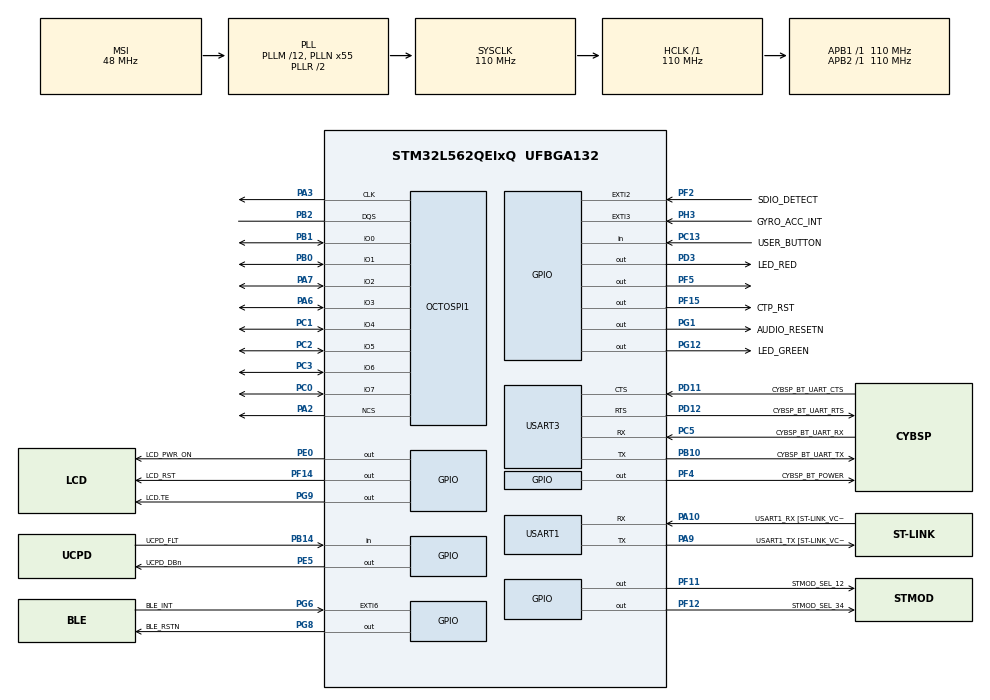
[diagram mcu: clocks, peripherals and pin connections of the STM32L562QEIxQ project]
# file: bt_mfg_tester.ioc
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Dma.Request0=USART3_RX
Dma.Request1=USART3_TX
Dma.USART3_RX.0.Channel_PRIV_NPRIV=DMA_CHANNEL_NPRIV_DISABLE
Dma.USART3_RX.0.Direction=DMA_PERIPH_TO_MEMORY
Dma.USART3_RX.0.EventEnable=DISABLE
Dma.USART3_RX.0.Instance=DMA1_Channel1
Dma.USART3_RX.0.MemDataAlignment=DMA_MDATAALIGN_BYTE
Dma.USART3_RX.0.MemInc=DMA_MINC_ENABLE
Dma.USART3_RX.0.Mode=DMA_NORMAL
Dma.USART3_RX.0.PeriphDataAlignment=DMA_PDATAALIGN_BYTE
Dma.USART3_RX.0.PeriphInc=DMA_PINC_DISABLE
Dma.USART3_RX.0.Polarity=HAL_DMAMUX_REQ_GEN_RISING
Dma.USART3_RX.0.Priority=DMA_PRIORITY_LOW
Dma.USART3_RX.0.RequestNumber=1
Dma.USART3_RX.0.SignalID=NONE
Dma.USART3_RX.0.SyncEnable=DISABLE
Dma.USART3_RX.0.SyncPolarity=HAL_DMAMUX_SYNC_NO_EVENT
Dma.USART3_RX.0.SyncRequestNumber=1
Dma.USART3_RX.0.SyncSignalID=NONE
Dma.USART3_TX.1.Channel_PRIV_NPRIV=DMA_CHANNEL_NPRIV_DISABLE
Dma.USART3_TX.1.Direction=DMA_MEMORY_TO_PERIPH
Dma.USART3_TX.1.EventEnable=DISABLE
Dma.USART3_TX.1.Instance=DMA1_Channel2
Dma.USART3_TX.1.MemDataAlignment=DMA_MDATAALIGN_BYTE
Dma.USART3_TX.1.MemInc=DMA_MINC_ENABLE
Dma.USART3_TX.1.Mode=DMA_NORMAL
Dma.USART3_TX.1.PeriphDataAlignment=DMA_PDATAALIGN_BYTE
Dma.USART3_TX.1.PeriphInc=DMA_PINC_DISABLE
Dma.USART3_TX.1.Polarity=HAL_DMAMUX_REQ_GEN_RISING
Dma.USART3_TX.1.Priority=DMA_PRIORITY_LOW
Dma.USART3_TX.1.RequestNumber=1
Dma.USART3_TX.1.SignalID=NONE
Dma.USART3_TX.1.SyncEnable=DISABLE
Dma.USART3_TX.1.SyncPolarity=HAL_DMAMUX_SYNC_NO_EVENT
Dma.USART3_TX.1.SyncRequestNumber=1
Dma.USART3_TX.1.SyncSignalID=NONE
FREERTOS.Tasks01=bt_mfgtest,24,2048,bt_mfgtest_task,As weak,NULL,Dynamic,NULL,NULL
FREERTOS.configENABLE_FPU=1
FREERTOS.configMINIMAL_STACK_SIZE=2048
FREERTOS.configTIMER_TASK_PRIORITY=6
FREERTOS.configTIMER_TASK_STACK_DEPTH=4096
FREERTOS.configTOTAL_HEAP_SIZE=0x10000
Infineon.AIROC-Wi-Fi-Bluetooth-STM32.1.8.0.CYBSP_BT_POWER=PF4
Infineon.AIROC-Wi-Fi-Bluetooth-STM32.1.8.0.CYBSP_BT_UART_CTS=PD11
Infineon.AIROC-Wi-Fi-Bluetooth-STM32.1.8.0.CYBSP_BT_UART_RTS=PD12
Infineon.AIROC-Wi-Fi-Bluetooth-STM32.1.8.0.CYBSP_BT_UART_RX=PC5
Infineon.AIROC-Wi-Fi-Bluetooth-STM32.1.8.0.CYBSP_BT_UART_TX=PB10
Infineon.AIROC-Wi-Fi-Bluetooth-STM32.1.8.0.ConnectivityCcWirelessJjBluetoothJjbtstack=BLEIiHARDFP
Infineon.AIROC-Wi-Fi-Bluetooth-STM32.1.8.0.ConnectivityCcWirelessJjBluetoothJjbtstackAaintegration=true
Infineon.AIROC-Wi-Fi-Bluetooth-STM32.1.8.0.ConnectivityCcWirelessJjPlatformJjabstractionAartos=FreeRTOS
Infineon.AIROC-Wi-Fi-Bluetooth-STM32.1.8.0.ConnectivityCcWirelessJjPlatformJjdevice=CYW43012
Infineon.AIROC-Wi-Fi-Bluetooth-STM32.1.8.0.ConnectivityCcWirelessJjPlatformJjmodule=MURATAAa1LV
Infineon.AIROC-Wi-Fi-Bluetooth-STM32.1.8.0.ConnectivityCcWirelessJjPlatformJjpal=true
Mcu.Family=STM32L5
Mcu.Name=STM32L562QEIxQ
Mcu.Package=UFBGA132
Mcu.TrustZone=disable
NVIC.DMA1_Channel1_IRQn=true\:5\:0\:false\:false\:true\:true\:false\:true\:true
NVIC.DMA1_Channel2_IRQn=true\:5\:0\:false\:false\:true\:true\:false\:true\:true
NVIC.OCTOSPI1_IRQn=true\:5\:0\:false\:false\:true\:true\:true\:true\:true
NVIC.PriorityGroup=NVIC_PRIORITYGROUP_3
NVIC.TIM6_IRQn=true\:0\:0\:false\:false\:true\:false\:false\:true\:true
NVIC.TimeBase=TIM6_IRQn
NVIC.TimeBaseIP=TIM6
NVIC.USART3_IRQn=true\:5\:0\:false\:false\:true\:true\:true\:true\:true
PA1.Signal=SPI1_SCK
PA10.GPIO_Label=USART1_RX [ST-LINK_VCP_TX]
PA10.Mode=Asynchronous
PA10.Signal=USART1_RX
PA11.Signal=USB_DM
PA12.Signal=USB_DP
PA13\ (JTMS/SWDIO).Signal=DEBUG_JTMS-SWDIO
PA14\ (JTCK/SWCLK).Signal=DEBUG_JTCK-SWCLK
PA15\ (JTDI).Signal=UCPD1_CC1
PA2.Mode=octods_mode
PA2.Signal=OCTOSPI1_NCS
PA3.Mode=octods_mode
PA3.Signal=OCTOSPI1_CLK
PA4.GPIO_Label=VBUS_SENSE
PA4.Signal=ADCx_IN9
PA6.Mode=octods_mode
PA6.Signal=OCTOSPI1_IO3
PA7.Mode=octods_mode
PA7.Signal=OCTOSPI1_IO2
PA8.Signal=SAI1_SCK_A
PA9.GPIO_Label=USART1_TX [ST-LINK_VCP_RX]
PA9.Mode=Asynchronous
PA9.Signal=USART1_TX
PB0.Mode=octods_mode
PB0.Signal=OCTOSPI1_IO1
PB1.Mode=octods_mode
PB1.Signal=OCTOSPI1_IO0
PB10.GPIO_Label=CYBSP_BT_UART_TX
PB10.Mode=Asynchronous
PB10.Signal=USART3_TX
PB14.GPIO_Label=UCPD_FLT
PB14.Signal=GPIO_Input
PB15.Signal=UCPD1_CC2
PB2.Mode=octods_mode
PB2.Signal=OCTOSPI1_DQS
PB3\ (JTDO/TRACESWO).Signal=DEBUG_JTDO-SWO
PB4\ (NJTRST).Signal=SPI1_MISO
PB5.Signal=SPI1_MOSI
PB6.Signal=I2C1_SCL
PB8.Signal=S_CKOUTDFSDM1
PB9.Signal=I2C1_SDA
PC0.Mode=octods_mode
PC0.Signal=OCTOSPI1_IO7
PC1.Mode=octods_mode
PC1.Signal=OCTOSPI1_IO4
PC10.GPIO_Label=SDIO_D2
PC10.Signal=SDMMC1_D2
PC11.GPIO_Label=SDIO_D3
PC11.Signal=SDMMC1_D3
PC12.GPIO_Label=SDIO_CLK
PC12.Signal=SDMMC1_CK
PC13.GPIO_Label=USER_BUTTON
PC13.Signal=GPIO_Input
PC14-OSC32_IN\ (PC14).Mode=LSE-External-Oscillator
PC14-OSC32_IN\ (PC14).Signal=RCC_OSC32_IN
PC15-OSC32_OUT\ (PC15).Mode=LSE-External-Oscillator
PC15-OSC32_OUT\ (PC15).Signal=RCC_OSC32_OUT
PC2.Mode=octods_mode
PC2.Signal=OCTOSPI1_IO5
PC3.Mode=octods_mode
PC3.Signal=OCTOSPI1_IO6
PC5.GPIO_Label=CYBSP_BT_UART_RX
PC5.Mode=Asynchronous
PC5.Signal=USART3_RX
PC8.GPIO_Label=SDIO_D0
PC8.Signal=SDMMC1_D0
PC9.GPIO_Label=SDIO_D1
PC9.Signal=SDMMC1_D1
PD0.Signal=FMC_D2_DA2
PD1.Signal=FMC_D3_DA3
PD10.Signal=FMC_D15_DA15
PD11.GPIO_Label=CYBSP_BT_UART_CTS
PD11.Mode=CTS_RTS
PD11.Signal=USART3_CTS
PD12.GPIO_Label=CYBSP_BT_UART_RTS
PD12.Mode=CTS_RTS
PD12.Signal=USART3_RTS
PD14.Signal=FMC_D0_DA0
PD15.Signal=FMC_D1_DA1
PD2.GPIO_Label=SDIO_CMD
PD2.Signal=SDMMC1_CMD
PD3.GPIO_Label=LED_RED
PD3.Signal=GPIO_Output
PD4.Signal=FMC_NOE
PD5.Signal=FMC_NWE
PD6.Signal=S_DATAIN1DFSDM1
PD7.Signal=FMC_NE1
PD8.Signal=FMC_D13_DA13
PD9.Signal=FMC_D14_DA14
PE0.GPIO_Label=LCD_PWR_ON
PE0.Signal=GPIO_Output
PE1.GPIO_Label=LCD_BL_PWM
PE1.Signal=S_TIM17_CH1
PE10.Signal=FMC_D7_DA7
PE11.Signal=FMC_D8_DA8
PE12.Signal=FMC_D9_DA9
PE13.Signal=FMC_D10_DA10
PE14.Signal=FMC_D11_DA11
PE15.Signal=FMC_D12_DA12
PE2.Signal=SAI1_MCLK_A
PE3.Signal=SAI1_SD_B
PE4.Signal=SAI1_FS_A
PE5.GPIO_Label=UCPD_DBn
PE5.Signal=GPIO_Output
PE6.Signal=SAI1_SD_A
PE7.Signal=FMC_D4_DA4
PE8.Signal=FMC_D5_DA5
PE9.Signal=FMC_D6_DA6
PF0.Signal=FMC_A0
PF11.GPIO_Label=STMOD_SEL_12
PF11.Signal=GPIO_Output
PF12.GPIO_Label=STMOD_SEL_34
PF12.Signal=GPIO_Output
PF14.GPIO_Label=LCD_RST
PF14.Signal=GPIO_Output
PF15.GPIO_Label=CTP_RST
PF15.Signal=GPIO_Output
PF2.GPIO_Label=SDIO_DETECT
PF2.Signal=GPXTI2
PF4.GPIO_Label=CYBSP_BT_POWER
PF4.Signal=GPIO_Output
PF5.Signal=GPIO_Output
PG1.GPIO_Label=AUDIO_RESETN
PG1.Signal=GPIO_Output
PG12.GPIO_Label=LED_GREEN
PG12.Signal=GPIO_Output
PG5.GPIO_Label=BLE_CSN
PG5.Signal=SPI1_NSS
PG6.GPIO_Label=BLE_INT
PG6.Signal=GPXTI6
PG7.Signal=LPUART1_TX
PG8.GPIO_Label=BLE_RSTN
PG8.Signal=GPIO_Output
PG9.GPIO_Label=LCD.TE
PG9.Signal=GPIO_Output
PH0-OSC_IN\ (PH0).Mode=HSE-External-Oscillator
PH0-OSC_IN\ (PH0).Signal=RCC_OSC_IN
PH1-OSC_OUT\ (PH1).Mode=HSE-External-Oscillator
PH1-OSC_OUT\ (PH1).Signal=RCC_OSC_OUT
PH3-BOOT0.GPIO_Label=GYRO_ACC_INT
PH3-BOOT0.Signal=GPXTI3
ProjectManager.HeapSize=0xA000
ProjectManager.StackSize=0x2000
ProjectManager.TargetToolchain=STM32CubeIDE
RCC.ADCFreq_Value=96000000
RCC.AHBFreq_Value=110000000
RCC.APB1Freq_Value=110000000
RCC.APB1TimFreq_Value=110000000
RCC.APB2Freq_Value=110000000
RCC.APB2TimFreq_Value=110000000
RCC.CK48CLockSelection=RCC_USBCLKSOURCE_MSI
RCC.CortexFreq_Value=110000000
RCC.HCLKFreq_Value=110000000
RCC.HSE_VALUE=8000000
RCC.HSI48_VALUE=48000000
RCC.HSI_VALUE=16000000
RCC.LPTIM1CLockSelectionVirtual=RCC_LPTIM1CLKSOURCE_LSE
RCC.MSIClockRange=RCC_MSIRANGE_11
RCC.MSI_VALUE=48000000
RCC.PLLM=12
RCC.PLLN=55
RCC.PLLSAI1M=4
RCC.PLLSAI1N=48
RCC.PLLSAI1P=RCC_PLLP_DIV17
RCC.PLLSAI1Source=RCC_PLLSAI1SOURCE_HSI
RCC.SDMMCClockSelection=RCC_SDIOCLKSOURCE_CLK48
RCC.SYSCLKFreq_VALUE=110000000
RCC.SYSCLKSource=RCC_SYSCLKSOURCE_PLLCLK
RCC.USBFreq_Value=48000000
RCC.VCOOutputFreq_Value=220000000
SH.ADCx_IN9.0=ADC1_IN9
SH.FMC_A0.0=FMC_A0
SH.FMC_D0_DA0.0=FMC_DA0
SH.FMC_D0_DA0.1=FMC_D0
SH.FMC_D10_DA10.0=FMC_DA10
SH.FMC_D10_DA10.1=FMC_D10
SH.FMC_D11_DA11.0=FMC_DA11
SH.FMC_D11_DA11.1=FMC_D11
SH.FMC_D12_DA12.0=FMC_DA12
SH.FMC_D12_DA12.1=FMC_D12
SH.FMC_D13_DA13.0=FMC_DA13
SH.FMC_D13_DA13.1=FMC_D13
SH.FMC_D14_DA14.0=FMC_DA14
SH.FMC_D14_DA14.1=FMC_D14
SH.FMC_D15_DA15.0=FMC_DA15
SH.FMC_D15_DA15.1=FMC_D15
SH.FMC_D1_DA1.0=FMC_DA1
SH.FMC_D1_DA1.1=FMC_D1
SH.FMC_D2_DA2.0=FMC_DA2
SH.FMC_D2_DA2.1=FMC_D2
SH.FMC_D3_DA3.0=FMC_DA3
SH.FMC_D3_DA3.1=FMC_D3
SH.FMC_D4_DA4.0=FMC_DA4
SH.FMC_D4_DA4.1=FMC_D4
SH.FMC_D5_DA5.0=FMC_DA5
SH.FMC_D5_DA5.1=FMC_D5
SH.FMC_D6_DA6.0=FMC_DA6
SH.FMC_D6_DA6.1=FMC_D6
SH.FMC_D7_DA7.0=FMC_DA7
SH.FMC_D7_DA7.1=FMC_D7
SH.FMC_D8_DA8.0=FMC_DA8
SH.FMC_D8_DA8.1=FMC_D8
SH.FMC_D9_DA9.0=FMC_DA9
SH.FMC_D9_DA9.1=FMC_D9
SH.FMC_NOE.0=FMC_NOE
SH.FMC_NWE.0=FMC_NWE
SH.S_CKOUTDFSDM1.0=DFSDM1_CKOUT
SH.S_DATAIN1DFSDM1.0=DFSDM1_DATIN1
SH.S_TIM17_CH1.0=TIM17_CH1
USART1.VirtualMode-Asynchronous=VM_ASYNC
USART3.VirtualMode-Asynchronous=VM_ASYNC
VP_FREERTOS_VS_CMSIS_V2.Mode=CMSIS_V2
VP_Infineon.AIROC-Wi-Fi-Bluetooth-STM32_VS_WirelessJjConnectivity_1.8.0_1.8.0.Mode=WirelessJjConnectivity
VP_PWR_VS_DBSignals.Mode=DisableDeadBatterySignals
VP_PWR_VS_SECSignals.Mode=Security/Privilege
VP_SYS_VS_tim6.Mode=TIM6
board=STM32L562E-DK

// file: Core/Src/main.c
/* USER CODE BEGIN Header */
/**
  ******************************************************************************
  * @file           : main.c
  * @brief          : Main program body
  ******************************************************************************
  * @attention
  *
  * <h2><center>&copy; Copyright (c) 2021 STMicroelectronics.
  * All rights reserved.</center></h2>
  *
  * This software component is licensed by ST under Ultimate Liberty license
  * SLA0044, the "License"; You may not use this file except in compliance with
  * the License. You may obtain a copy of the License at:
  *                             www.st.com/SLA0044
  *
  ******************************************************************************
  */
/* USER CODE END Header */
#include "main.h"
#include "cmsis_os.h"

/* USER CODE BEGIN Includes */
#include "cyhal_sdio.h"
#include "stm32_cyhal_sdio_ex.h"
#include "stm32_cyhal_gpio_ex.h"

#include "wifi_bt_if.h"

#include "cybsp.h"
#include "cyhal.h"
#include "cyabs_rtos.h"

#include "wiced_bt_stack.h"
#include "wiced_memory.h"
#include "wiced_bt_dev.h"

//#include <app_platform_cfg.h>
#include "cybt_platform_trace.h"

#include "cy_utils.h"
#include "stdio.h"
/* USER CODE END Includes */

/* USER CODE BEGIN PD */
#ifndef HSEM_ID_0
#define HSEM_ID_0 (0U) /* HW semaphore 0*/
#endif
/* USER CODE END PD */

OSPI_HandleTypeDef hospi1;

UART_HandleTypeDef huart1;
UART_HandleTypeDef huart3;
DMA_HandleTypeDef hdma_usart3_rx;
DMA_HandleTypeDef hdma_usart3_tx;

/* Definitions for bt_mfgtest */
osThreadId_t bt_mfgtestHandle;
const osThreadAttr_t bt_mfgtest_attributes = {
  .name = "bt_mfgtest",
  .priority = (osPriority_t) osPriorityNormal,
  .stack_size = 2048 * 4
};

void SystemClock_Config(void);
static void MX_GPIO_Init(void);
static void MX_DMA_Init(void);
static void MX_OCTOSPI1_Init(void);
static void MX_USART1_UART_Init(void);
static void MX_USART3_UART_Init(void);
void bt_mfgtest_task(void *argument);

int main(void)
{

  /* MCU Configuration--------------------------------------------------------*/

  /* Reset of all peripherals, Initializes the Flash interface and the Systick. */
  HAL_Init();

  /* Configure the system clock */
  SystemClock_Config();

  /* Initialize all configured peripherals */
  MX_GPIO_Init();
  MX_DMA_Init();
  MX_OCTOSPI1_Init();
  MX_USART1_UART_Init();
  MX_USART3_UART_Init();

  /* Init scheduler */
  osKernelInitialize();

  /* Create the thread(s) */
  /* creation of bt_mfgtest */
  bt_mfgtestHandle = osThreadNew(bt_mfgtest_task, NULL, &bt_mfgtest_attributes);

  /* Start scheduler */
  osKernelStart();
  /* We should never get here as control is now taken by the scheduler */
  /* Infinite loop */
  while (1)
  {

  }
}

void SystemClock_Config(void)
{
  RCC_OscInitTypeDef RCC_OscInitStruct = {0};
  RCC_ClkInitTypeDef RCC_ClkInitStruct = {0};

  /** Configure the main internal regulator output voltage
  */
  if (HAL_PWREx_ControlVoltageScaling(PWR_REGULATOR_VOLTAGE_SCALE0) != HAL_OK)
  {
    Error_Handler();
  }

  /** Initializes the RCC Oscillators according to the specified parameters
  * in the RCC_OscInitTypeDef structure.
  */
  RCC_OscInitStruct.OscillatorType = RCC_OSCILLATORTYPE_MSI;
  RCC_OscInitStruct.MSIState = RCC_MSI_ON;
  RCC_OscInitStruct.MSICalibrationValue = RCC_MSICALIBRATION_DEFAULT;
  RCC_OscInitStruct.MSIClockRange = RCC_MSIRANGE_11;
  RCC_OscInitStruct.PLL.PLLState = RCC_PLL_ON;
  RCC_OscInitStruct.PLL.PLLSource = RCC_PLLSOURCE_MSI;
  RCC_OscInitStruct.PLL.PLLM = 12;
  RCC_OscInitStruct.PLL.PLLN = 55;
  RCC_OscInitStruct.PLL.PLLP = RCC_PLLP_DIV7;
  RCC_OscInitStruct.PLL.PLLQ = RCC_PLLQ_DIV2;
  RCC_OscInitStruct.PLL.PLLR = RCC_PLLR_DIV2;
  if (HAL_RCC_OscConfig(&RCC_OscInitStruct) != HAL_OK)
  {
    Error_Handler();
  }

  /** Initializes the CPU, AHB and APB buses clocks
  */
  RCC_ClkInitStruct.ClockType = RCC_CLOCKTYPE_HCLK|RCC_CLOCKTYPE_SYSCLK
                              |RCC_CLOCKTYPE_PCLK1|RCC_CLOCKTYPE_PCLK2;
  RCC_ClkInitStruct.SYSCLKSource = RCC_SYSCLKSOURCE_PLLCLK;
  RCC_ClkInitStruct.AHBCLKDivider = RCC_SYSCLK_DIV1;
  RCC_ClkInitStruct.APB1CLKDivider = RCC_HCLK_DIV1;
  RCC_ClkInitStruct.APB2CLKDivider = RCC_HCLK_DIV1;

  if (HAL_RCC_ClockConfig(&RCC_ClkInitStruct, FLASH_LATENCY_5) != HAL_OK)
  {
    Error_Handler();
  }
}

static void MX_OCTOSPI1_Init(void)
{

  /* OCTOSPI1 parameter configuration*/
  hospi1.Instance = OCTOSPI1;
  hospi1.Init.FifoThreshold = 1;
  hospi1.Init.DualQuad = HAL_OSPI_DUALQUAD_DISABLE;
  hospi1.Init.MemoryType = HAL_OSPI_MEMTYPE_MICRON;
  hospi1.Init.DeviceSize = 32;
  hospi1.Init.ChipSelectHighTime = 1;
  hospi1.Init.FreeRunningClock = HAL_OSPI_FREERUNCLK_DISABLE;
  hospi1.Init.ClockMode = HAL_OSPI_CLOCK_MODE_0;
  hospi1.Init.WrapSize = HAL_OSPI_WRAP_NOT_SUPPORTED;
  hospi1.Init.ClockPrescaler = 1;
  hospi1.Init.SampleShifting = HAL_OSPI_SAMPLE_SHIFTING_NONE;
  hospi1.Init.DelayHoldQuarterCycle = HAL_OSPI_DHQC_DISABLE;
  hospi1.Init.ChipSelectBoundary = 0;
  hospi1.Init.DelayBlockBypass = HAL_OSPI_DELAY_BLOCK_BYPASSED;
  hospi1.Init.Refresh = 0;
  if (HAL_OSPI_Init(&hospi1) != HAL_OK)
  {
    Error_Handler();
  }

}

static void MX_USART1_UART_Init(void)
{

  huart1.Instance = USART1;
  huart1.Init.BaudRate = 115200;
  huart1.Init.WordLength = UART_WORDLENGTH_8B;
  huart1.Init.StopBits = UART_STOPBITS_1;
  huart1.Init.Parity = UART_PARITY_NONE;
  huart1.Init.Mode = UART_MODE_TX_RX;
  huart1.Init.HwFlowCtl = UART_HWCONTROL_NONE;
  huart1.Init.OverSampling = UART_OVERSAMPLING_16;
  huart1.Init.OneBitSampling = UART_ONE_BIT_SAMPLE_DISABLE;
  huart1.Init.ClockPrescaler = UART_PRESCALER_DIV1;
  huart1.AdvancedInit.AdvFeatureInit = UART_ADVFEATURE_NO_INIT;
  if (HAL_UART_Init(&huart1) != HAL_OK)
  {
    Error_Handler();
  }
  if (HAL_UARTEx_SetTxFifoThreshold(&huart1, UART_TXFIFO_THRESHOLD_1_8) != HAL_OK)
  {
    Error_Handler();
  }
  if (HAL_UARTEx_SetRxFifoThreshold(&huart1, UART_RXFIFO_THRESHOLD_1_8) != HAL_OK)
  {
    Error_Handler();
  }
  if (HAL_UARTEx_DisableFifoMode(&huart1) != HAL_OK)
  {
    Error_Handler();
  }

}

static void MX_USART3_UART_Init(void)
{

  huart3.Instance = USART3;
  huart3.Init.BaudRate = 115200;
  huart3.Init.WordLength = UART_WORDLENGTH_8B;
  huart3.Init.StopBits = UART_STOPBITS_1;
  huart3.Init.Parity = UART_PARITY_NONE;
  huart3.Init.Mode = UART_MODE_TX_RX;
  huart3.Init.HwFlowCtl = UART_HWCONTROL_RTS_CTS;
  huart3.Init.OverSampling = UART_OVERSAMPLING_16;
  huart3.Init.OneBitSampling = UART_ONE_BIT_SAMPLE_DISABLE;
  huart3.Init.ClockPrescaler = UART_PRESCALER_DIV1;
  huart3.AdvancedInit.AdvFeatureInit = UART_ADVFEATURE_NO_INIT;
  if (HAL_UART_Init(&huart3) != HAL_OK)
  {
    Error_Handler();
  }
  if (HAL_UARTEx_SetTxFifoThreshold(&huart3, UART_TXFIFO_THRESHOLD_1_8) != HAL_OK)
  {
    Error_Handler();
  }
  if (HAL_UARTEx_SetRxFifoThreshold(&huart3, UART_RXFIFO_THRESHOLD_1_8) != HAL_OK)
  {
    Error_Handler();
  }
  if (HAL_UARTEx_DisableFifoMode(&huart3) != HAL_OK)
  {
    Error_Handler();
  }

}

static void MX_DMA_Init(void)
{

  /* DMA controller clock enable */
  __HAL_RCC_DMAMUX1_CLK_ENABLE();
  __HAL_RCC_DMA1_CLK_ENABLE();

  /* DMA interrupt init */
  /* DMA1_Channel1_IRQn interrupt configuration */
  HAL_NVIC_SetPriority(DMA1_Channel1_IRQn, 5, 0);
  HAL_NVIC_EnableIRQ(DMA1_Channel1_IRQn);
  /* DMA1_Channel2_IRQn interrupt configuration */
  HAL_NVIC_SetPriority(DMA1_Channel2_IRQn, 5, 0);
  HAL_NVIC_EnableIRQ(DMA1_Channel2_IRQn);

}

static void MX_GPIO_Init(void)
{
  GPIO_InitTypeDef GPIO_InitStruct = {0};

  /* GPIO Ports Clock Enable */
  __HAL_RCC_GPIOE_CLK_ENABLE();
  __HAL_RCC_GPIOB_CLK_ENABLE();
  __HAL_RCC_GPIOG_CLK_ENABLE();
  HAL_PWREx_EnableVddIO2();
  __HAL_RCC_GPIOD_CLK_ENABLE();
  __HAL_RCC_GPIOC_CLK_ENABLE();
  __HAL_RCC_GPIOA_CLK_ENABLE();
  __HAL_RCC_GPIOH_CLK_ENABLE();
  __HAL_RCC_GPIOF_CLK_ENABLE();

  /*Configure GPIO pin Output Level */
  HAL_GPIO_WritePin(GPIOE, UCPD_DBn_Pin|LCD_PWR_ON_Pin, GPIO_PIN_RESET);

  /*Configure GPIO pin Output Level */
  HAL_GPIO_WritePin(GPIOG, LED_GREEN_Pin|LCD_TE_Pin|BLE_RSTN_Pin|AUDIO_RESETN_Pin, GPIO_PIN_RESET);

  /*Configure GPIO pin Output Level */
  HAL_GPIO_WritePin(LED_RED_GPIO_Port, LED_RED_Pin, GPIO_PIN_RESET);

  /*Configure GPIO pin Output Level */
  HAL_GPIO_WritePin(GPIOF, CYBSP_BT_POWER_Pin|GPIO_PIN_5|LCD_RST_Pin|STMOD_SEL_12_Pin
                          |STMOD_SEL_34_Pin|CTP_RST_Pin, GPIO_PIN_RESET);

  /*Configure GPIO pins : UCPD_DBn_Pin LCD_PWR_ON_Pin */
  GPIO_InitStruct.Pin = UCPD_DBn_Pin|LCD_PWR_ON_Pin;
  GPIO_InitStruct.Mode = GPIO_MODE_OUTPUT_PP;
  GPIO_InitStruct.Pull = GPIO_NOPULL;
  GPIO_InitStruct.Speed = GPIO_SPEED_FREQ_LOW;
  HAL_GPIO_Init(GPIOE, &GPIO_InitStruct);

  /*Configure GPIO pins : PE3 PE4 PE2 PE6 */
  GPIO_InitStruct.Pin = GPIO_PIN_3|GPIO_PIN_4|GPIO_PIN_2|GPIO_PIN_6;
  GPIO_InitStruct.Mode = GPIO_MODE_AF_PP;
  GPIO_InitStruct.Pull = GPIO_NOPULL;
  GPIO_InitStruct.Speed = GPIO_SPEED_FREQ_LOW;
  GPIO_InitStruct.Alternate = GPIO_AF13_SAI1;
  HAL_GPIO_Init(GPIOE, &GPIO_InitStruct);

  /*Configure GPIO pin : LCD_BL_PWM_Pin */
  GPIO_InitStruct.Pin = LCD_BL_PWM_Pin;
  GPIO_InitStruct.Mode = GPIO_MODE_AF_PP;
  GPIO_InitStruct.Pull = GPIO_NOPULL;
  GPIO_InitStruct.Speed = GPIO_SPEED_FREQ_LOW;
  GPIO_InitStruct.Alternate = GPIO_AF14_TIM17;
  HAL_GPIO_Init(LCD_BL_PWM_GPIO_Port, &GPIO_InitStruct);

  /*Configure GPIO pins : PB9 PB6 */
  GPIO_InitStruct.Pin = GPIO_PIN_9|GPIO_PIN_6;
  GPIO_InitStruct.Mode = GPIO_MODE_AF_OD;
  GPIO_InitStruct.Pull = GPIO_NOPULL;
  GPIO_InitStruct.Speed = GPIO_SPEED_FREQ_LOW;
  GPIO_InitStruct.Alternate = GPIO_AF4_I2C1;
  HAL_GPIO_Init(GPIOB, &GPIO_InitStruct);

  /*Configure GPIO pins : LED_GREEN_Pin LCD_TE_Pin BLE_RSTN_Pin AUDIO_RESETN_Pin */
  GPIO_InitStruct.Pin = LED_GREEN_Pin|LCD_TE_Pin|BLE_RSTN_Pin|AUDIO_RESETN_Pin;
  GPIO_InitStruct.Mode = GPIO_MODE_OUTPUT_PP;
  GPIO_InitStruct.Pull = GPIO_NOPULL;
  GPIO_InitStruct.Speed = GPIO_SPEED_FREQ_LOW;
  HAL_GPIO_Init(GPIOG, &GPIO_InitStruct);

  /*Configure GPIO pin : PD6 */
  GPIO_InitStruct.Pin = GPIO_PIN_6;
  GPIO_InitStruct.Mode = GPIO_MODE_AF_PP;
  GPIO_InitStruct.Pull = GPIO_NOPULL;
  GPIO_InitStruct.Speed = GPIO_SPEED_FREQ_LOW;
  GPIO_InitStruct.Alternate = GPIO_AF6_DFSDM1;
  HAL_GPIO_Init(GPIOD, &GPIO_InitStruct);

  /*Configure GPIO pins : PD5 PD4 PD1 PD0
                           PD7 PD14 PD15 PD9
                           PD8 PD10 */
  GPIO_InitStruct.Pin = GPIO_PIN_5|GPIO_PIN_4|GPIO_PIN_1|GPIO_PIN_0
                          |GPIO_PIN_7|GPIO_PIN_14|GPIO_PIN_15|GPIO_PIN_9
                          |GPIO_PIN_8|GPIO_PIN_10;
  GPIO_InitStruct.Mode = GPIO_MODE_AF_PP;
  GPIO_InitStruct.Pull = GPIO_NOPULL;
  GPIO_InitStruct.Speed = GPIO_SPEED_FREQ_VERY_HIGH;
  GPIO_InitStruct.Alternate = GPIO_AF12_FMC;
  HAL_GPIO_Init(GPIOD, &GPIO_InitStruct);

  /*Configure GPIO pin : SDIO_CMD_Pin */
  GPIO_InitStruct.Pin = SDIO_CMD_Pin;
  GPIO_InitStruct.Mode = GPIO_MODE_AF_PP;
  GPIO_InitStruct.Pull = GPIO_NOPULL;
  GPIO_InitStruct.Speed = GPIO_SPEED_FREQ_VERY_HIGH;
  GPIO_InitStruct.Alternate = GPIO_AF12_SDMMC1;
  HAL_GPIO_Init(SDIO_CMD_GPIO_Port, &GPIO_InitStruct);

  /*Configure GPIO pins : SDIO_D3_Pin SDIO_CLK_Pin SDIO_D2_Pin SDIO_D1_Pin
                           SDIO_D0_Pin */
  GPIO_InitStruct.Pin = SDIO_D3_Pin|SDIO_CLK_Pin|SDIO_D2_Pin|SDIO_D1_Pin
                          |SDIO_D0_Pin;
  GPIO_InitStruct.Mode = GPIO_MODE_AF_PP;
  GPIO_InitStruct.Pull = GPIO_NOPULL;
  GPIO_InitStruct.Speed = GPIO_SPEED_FREQ_VERY_HIGH;
  GPIO_InitStruct.Alternate = GPIO_AF12_SDMMC1;
  HAL_GPIO_Init(GPIOC, &GPIO_InitStruct);

  /*Configure GPIO pins : PA15 VBUS_SENSE_Pin */
  GPIO_InitStruct.Pin = GPIO_PIN_15|VBUS_SENSE_Pin;
  GPIO_InitStruct.Mode = GPIO_MODE_ANALOG;
  GPIO_InitStruct.Pull = GPIO_NOPULL;
  HAL_GPIO_Init(GPIOA, &GPIO_InitStruct);

  /*Configure GPIO pin : GYRO_ACC_INT_Pin */
  GPIO_InitStruct.Pin = GYRO_ACC_INT_Pin;
  GPIO_InitStruct.Mode = GPIO_MODE_IT_RISING;
  GPIO_InitStruct.Pull = GPIO_NOPULL;
  HAL_GPIO_Init(GYRO_ACC_INT_GPIO_Port, &GPIO_InitStruct);

  /*Configure GPIO pins : PB4 PB5 */
  GPIO_InitStruct.Pin = GPIO_PIN_4|GPIO_PIN_5;
  GPIO_InitStruct.Mode = GPIO_MODE_AF_PP;
  GPIO_InitStruct.Pull = GPIO_NOPULL;
  GPIO_InitStruct.Speed = GPIO_SPEED_FREQ_LOW;
  GPIO_InitStruct.Alternate = GPIO_AF5_SPI1;
  HAL_GPIO_Init(GPIOB, &GPIO_InitStruct);

  /*Configure GPIO pins : PA12 PA11 */
  GPIO_InitStruct.Pin = GPIO_PIN_12|GPIO_PIN_11;
  GPIO_InitStruct.Mode = GPIO_MODE_AF_PP;
  GPIO_InitStruct.Pull = GPIO_NOPULL;
  GPIO_InitStruct.Speed = GPIO_SPEED_FREQ_LOW;
  GPIO_InitStruct.Alternate = GPIO_AF10_USB;
  HAL_GPIO_Init(GPIOA, &GPIO_InitStruct);

  /*Configure GPIO pin : USER_BUTTON_Pin */
  GPIO_InitStruct.Pin = USER_BUTTON_Pin;
  GPIO_InitStruct.Mode = GPIO_MODE_INPUT;
  GPIO_InitStruct.Pull = GPIO_NOPULL;
  HAL_GPIO_Init(USER_BUTTON_GPIO_Port, &GPIO_InitStruct);

  /*Configure GPIO pin : PB8 */
  GPIO_InitStruct.Pin = GPIO_PIN_8;
  GPIO_InitStruct.Mode = GPIO_MODE_AF_PP;
  GPIO_InitStruct.Pull = GPIO_NOPULL;
  GPIO_InitStruct.Speed = GPIO_SPEED_FREQ_LOW;
  GPIO_InitStruct.Alternate = GPIO_AF5_DFSDM1;
  HAL_GPIO_Init(GPIOB, &GPIO_InitStruct);

  /*Configure GPIO pin : LED_RED_Pin */
  GPIO_InitStruct.Pin = LED_RED_Pin;
  GPIO_InitStruct.Mode = GPIO_MODE_OUTPUT_PP;
  GPIO_InitStruct.Pull = GPIO_NOPULL;
  GPIO_InitStruct.Speed = GPIO_SPEED_FREQ_LOW;
  HAL_GPIO_Init(LED_RED_GPIO_Port, &GPIO_InitStruct);

  /*Configure GPIO pin : PF0 */
  GPIO_InitStruct.Pin = GPIO_PIN_0;
  GPIO_InitStruct.Mode = GPIO_MODE_AF_PP;
  GPIO_InitStruct.Pull = GPIO_NOPULL;
  GPIO_InitStruct.Speed = GPIO_SPEED_FREQ_VERY_HIGH;
  GPIO_InitStruct.Alternate = GPIO_AF12_FMC;
  HAL_GPIO_Init(GPIOF, &GPIO_InitStruct);

  /*Configure GPIO pin : PA8 */
  GPIO_InitStruct.Pin = GPIO_PIN_8;
  GPIO_InitStruct.Mode = GPIO_MODE_AF_PP;
  GPIO_InitStruct.Pull = GPIO_NOPULL;
  GPIO_InitStruct.Speed = GPIO_SPEED_FREQ_LOW;
  GPIO_InitStruct.Alternate = GPIO_AF13_SAI1;
  HAL_GPIO_Init(GPIOA, &GPIO_InitStruct);

  /*Configure GPIO pin : SDIO_DETECT_Pin */
  GPIO_InitStruct.Pin = SDIO_DETECT_Pin;
  GPIO_InitStruct.Mode = GPIO_MODE_IT_RISING;
  GPIO_InitStruct.Pull = GPIO_NOPULL;
  HAL_GPIO_Init(SDIO_DETECT_GPIO_Port, &GPIO_InitStruct);

  /*Configure GPIO pins : CYBSP_BT_POWER_Pin PF5 LCD_RST_Pin STMOD_SEL_12_Pin
                           STMOD_SEL_34_Pin CTP_RST_Pin */
  GPIO_InitStruct.Pin = CYBSP_BT_POWER_Pin|GPIO_PIN_5|LCD_RST_Pin|STMOD_SEL_12_Pin
                          |STMOD_SEL_34_Pin|CTP_RST_Pin;
  GPIO_InitStruct.Mode = GPIO_MODE_OUTPUT_PP;
  GPIO_InitStruct.Pull = GPIO_NOPULL;
  GPIO_InitStruct.Speed = GPIO_SPEED_FREQ_LOW;
  HAL_GPIO_Init(GPIOF, &GPIO_InitStruct);

  /*Configure GPIO pin : BLE_INT_Pin */
  GPIO_InitStruct.Pin = BLE_INT_Pin;
  GPIO_InitStruct.Mode = GPIO_MODE_IT_RISING;
  GPIO_InitStruct.Pull = GPIO_NOPULL;
  HAL_GPIO_Init(BLE_INT_GPIO_Port, &GPIO_InitStruct);

  /*Configure GPIO pin : PG7 */
  GPIO_InitStruct.Pin = GPIO_PIN_7;
  GPIO_InitStruct.Mode = GPIO_MODE_AF_PP;
  GPIO_InitStruct.Pull = GPIO_NOPULL;
  GPIO_InitStruct.Speed = GPIO_SPEED_FREQ_LOW;
  GPIO_InitStruct.Alternate = GPIO_AF8_LPUART1;
  HAL_GPIO_Init(GPIOG, &GPIO_InitStruct);

  /*Configure GPIO pin : PA1 */
  GPIO_InitStruct.Pin = GPIO_PIN_1;
  GPIO_InitStruct.Mode = GPIO_MODE_AF_PP;
  GPIO_InitStruct.Pull = GPIO_NOPULL;
  GPIO_InitStruct.Speed = GPIO_SPEED_FREQ_LOW;
  GPIO_InitStruct.Alternate = GPIO_AF5_SPI1;
  HAL_GPIO_Init(GPIOA, &GPIO_InitStruct);

  /*Configure GPIO pin : BLE_CSN_Pin */
  GPIO_InitStruct.Pin = BLE_CSN_Pin;
  GPIO_InitStruct.Mode = GPIO_MODE_AF_PP;
  GPIO_InitStruct.Pull = GPIO_NOPULL;
  GPIO_InitStruct.Speed = GPIO_SPEED_FREQ_LOW;
  GPIO_InitStruct.Alternate = GPIO_AF5_SPI1;
  HAL_GPIO_Init(BLE_CSN_GPIO_Port, &GPIO_InitStruct);

  /*Configure GPIO pins : PE8 PE10 PE12 PE7
                           PE14 PE11 PE15 PE9
                           PE13 */
  GPIO_InitStruct.Pin = GPIO_PIN_8|GPIO_PIN_10|GPIO_PIN_12|GPIO_PIN_7
                          |GPIO_PIN_14|GPIO_PIN_11|GPIO_PIN_15|GPIO_PIN_9
                          |GPIO_PIN_13;
  GPIO_InitStruct.Mode = GPIO_MODE_AF_PP;
  GPIO_InitStruct.Pull = GPIO_NOPULL;
  GPIO_InitStruct.Speed = GPIO_SPEED_FREQ_VERY_HIGH;
  GPIO_InitStruct.Alternate = GPIO_AF12_FMC;
  HAL_GPIO_Init(GPIOE, &GPIO_InitStruct);

  /*Configure GPIO pin : UCPD_FLT_Pin */
  GPIO_InitStruct.Pin = UCPD_FLT_Pin;
  GPIO_InitStruct.Mode = GPIO_MODE_INPUT;
  GPIO_InitStruct.Pull = GPIO_NOPULL;
  HAL_GPIO_Init(UCPD_FLT_GPIO_Port, &GPIO_InitStruct);

  /*Configure GPIO pin : PB15 */
  GPIO_InitStruct.Pin = GPIO_PIN_15;
  GPIO_InitStruct.Mode = GPIO_MODE_ANALOG;
  GPIO_InitStruct.Pull = GPIO_NOPULL;
  HAL_GPIO_Init(GPIOB, &GPIO_InitStruct);

}

/* USER CODE BEGIN 4 */

//Stack OverFlow error handling
void vApplicationStackOverflowHook( TaskHandle_t xTask,
                                    char * pcTaskName )
{
    printf( "ERROR: stack overflow with task %s\r\n", pcTaskName );
    portDISABLE_INTERRUPTS();

    /* Unused Parameters */
    ( void ) xTask;

    /* Loop forever */
    for( ; ; )
    {
    }
}

/* USER CODE END 4 */

__weak void bt_mfgtest_task(void *argument)
{
  for(;;)
  {
    osDelay(1);
  }
}

void HAL_TIM_PeriodElapsedCallback(TIM_HandleTypeDef *htim)
{
  if (htim->Instance == TIM6) {
    HAL_IncTick();
  }
}

void Error_Handler(void)
{
  __disable_irq();
  while (1)
  {
  }
}
